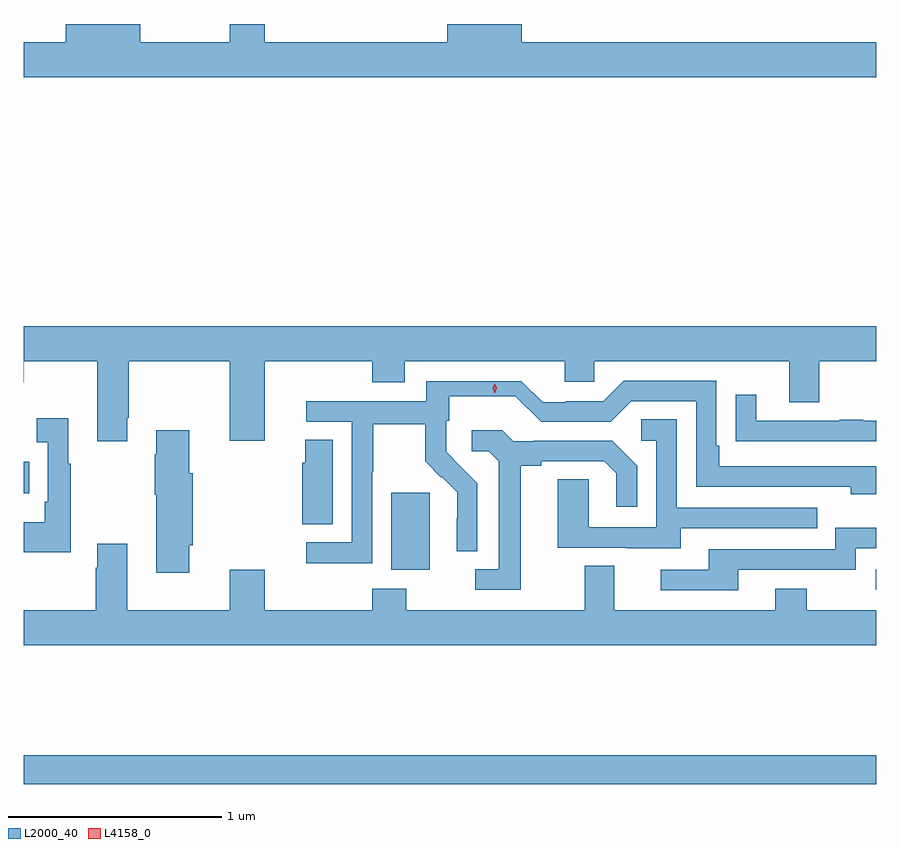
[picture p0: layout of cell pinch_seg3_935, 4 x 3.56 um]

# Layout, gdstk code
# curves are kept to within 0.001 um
import gdstk
lib = gdstk.Library(unit=1e-6, precision=1e-09)
def R(c, l, rs):  # rectangles x0, y0, x1, y1
    for r in rs: c.add(gdstk.rectangle(r[:2], r[2:], *l))
def P(c, l, *ps):  # polygons
    for p in ps: c.add(gdstk.Polygon(p, *l))
L2000_40 = (2000, 40)
L4158_0 = (4158, 0)

pinch_seg3_935 = lib.new_cell('pinch_seg3_935')
R(pinch_seg3_935, L2000_40, [(511.694,744.22,515.694,744.356), (515.691,745.131,515.694,745.227), (513.419,745.226,513.598,745.587), (511.694,745.583,511.721,745.731)])
P(pinch_seg3_935, L2000_40, [(515.694,747.7),(514.03,747.7),(514.03,747.785),(513.68,747.785),(513.68,747.7),(512.824,747.7),(512.824,747.785),(512.66,747.785),(512.66,747.7),(512.242,747.7),(512.242,747.785),(511.892,747.785),(511.892,747.7),(511.694,747.7),(511.694,747.536),(515.694,747.536)],
  [(512.179,745.939),(512.187,745.939),(512.187,746.204),(512.66,746.204),(512.66,745.83),(512.824,745.83),(512.824,746.204),(513.329,746.204),(513.329,746.105),(513.481,746.105),(513.481,746.204),(514.232,746.204),(514.232,746.106),(514.371,746.106),(514.371,746.204),(515.285,746.204),(515.285,746.01),(515.425,746.01),(515.425,746.204),(515.694,746.204),(515.694,746.368),(511.694,746.368),(511.694,746.105),(511.695,746.105),(511.695,746.204),(512.039,746.204),(512.039,745.827),(512.179,745.827)],
  [(513.33,745.684),(513.333,745.684),(513.333,745.908),(513.577,745.908),(513.577,745.733),(513.654,745.656),(513.657,745.659),(513.728,745.589),(513.728,745.466),(513.726,745.466),(513.726,745.312),(513.822,745.312),(513.822,745.63),(513.676,745.778),(513.676,745.923),(513.691,745.923),(513.691,746.04),(514.001,746.04),(514.121,745.92),(514.449,745.92),(514.545,746.016),(514.848,746.016),(514.848,745.614),(515.573,745.614),(515.573,745.58),(515.694,745.58),(515.694,745.71),(514.957,745.71),(514.957,745.807),(514.944,745.807),(514.944,746.112),(514.509,746.112),(514.413,746.016),(514.236,746.016),(514.236,746.01),(514.128,746.01),(514.029,746.109),(513.582,746.109),(513.582,746.016),(513.02,746.016),(513.02,745.92),(513.234,745.92),(513.234,745.353),(513.02,745.353),(513.02,745.255),(513.33,745.255)],
  [(515.694,745.923),(515.633,745.923),(515.633,745.928),(515.521,745.928),(515.521,745.923),(515.131,745.923),(515.131,746.047),(515.035,746.047),(515.035,745.828),(515.137,745.828),(515.137,745.827),(515.694,745.827)],
  [(511.915,745.723),(511.903,745.723),(511.903,745.936),(511.755,745.936),(511.755,745.823),(511.806,745.823),(511.806,745.543),(511.794,745.543),(511.794,745.447),(511.694,745.447),(511.694,745.307),(511.915,745.307)],
  [(514.777,745.419),(515.417,745.419),(515.417,745.515),(514.758,745.515),(514.758,745.931),(514.59,745.931),(514.59,745.83),(514.662,745.83),(514.662,745.425),(514.344,745.425),(514.344,745.649),(514.199,745.649),(514.199,745.329),(514.523,745.329),(514.523,745.325),(514.777,745.325)],
  [(512.47,745.341),(512.488,745.341),(512.488,745.677),(512.47,745.677),(512.47,745.879),(512.315,745.879),(512.315,745.766),(512.308,745.766),(512.308,745.577),(512.315,745.577),(512.315,745.212),(512.47,745.212)],
  [(514.027,745.712),(514.123,745.712),(514.123,745.734),(514.418,745.734),(514.475,745.677),(514.475,745.521),(514.572,745.521),(514.572,745.714),(514.456,745.83),(514.084,745.83),(514.084,745.827),(513.99,745.827),(513.938,745.879),(513.795,745.879),(513.795,745.782),(513.876,745.782),(513.923,745.735),(513.923,745.227),(513.813,745.227),(513.813,745.131),(514.027,745.131)],
  [(513.145,745.835),(513.014,745.835),(513.014,745.727),(513.002,745.727),(513.002,745.438),(513.145,745.438)],
  [(515.047,745.224),(515.598,745.224),(515.598,745.326),(515.694,745.326),(515.694,745.423),(515.502,745.423),(515.502,745.32),(514.907,745.32),(514.907,745.224),(514.683,745.224),(514.683,745.128),(515.047,745.128)],
  [(515.694,745.036),(515.367,745.036),(515.367,745.135),(515.219,745.135),(515.219,745.036),(514.465,745.036),(514.465,745.244),(514.325,745.244),(514.325,745.036),(513.489,745.036),(513.489,745.135),(513.329,745.135),(513.329,745.036),(512.824,745.036),(512.824,745.225),(512.66,745.225),(512.66,745.036),(512.179,745.036),(512.179,745.348),(512.039,745.348),(512.039,745.235),(512.032,745.235),(512.032,745.036),(511.694,745.036),(511.694,744.872),(515.694,744.872)])
P(pinch_seg3_935, L4158_0, [(513.904,746.053),(513.904,746.053),(513.894,746.076),(513.904,746.098),(513.904,746.098),(513.905,746.098),(513.914,746.076),(513.905,746.053)])

lib.write_gds('pinch_seg3_935.gds')
